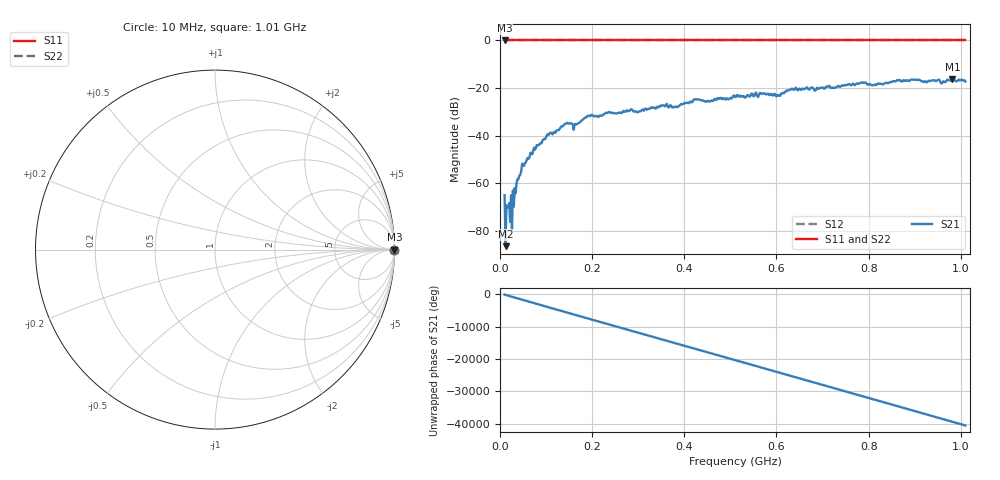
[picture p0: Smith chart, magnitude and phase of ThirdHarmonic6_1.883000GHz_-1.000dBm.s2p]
! 8/16/2025 10:44:58 PM
! C:\ANRITSUVNA\TEMP\TEMP.S2P
! CHANNEL.1
! TR.MEASUREMENT
! RAW.DATA
! RF.CORRECTION.OFF
! AVERAGING.OFF
! IF.BANDWIDTH: 5KHZ
! SWEEPTYPE:  FREQ.SWEEP(Linear)
! Reference Plane Port Info
! PORT:  PORT1  PORT2
! DISTANCE:  0  m  0  m
! TIME:  0  s  0  s
! PHASE.OFFSET:  0  deg.  0  deg.
! LOSS:  0  dB  0  dB
! REF.LOSS:  0  dB  0  dB
! REF.FREQ:  0  Hz  0  Hz
! Power Info
! POWER:  -20  dBm  -20  dBm
! EFF.POWER:  -20  dBm  -20  dBm
! SOURCE.ATTEN:  0  dB  0  dB
! TEST.ATTEN:  0  dB  0  dB
# GHZ S RI R 50.0
! FREQ.GHZ  S11RE  S11IM  S21RE  S21IM  S12RE  S12IM  S22RE  S22IM
!; PortSelection: Port_12
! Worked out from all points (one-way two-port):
!   501 points, 10 MHz to 1.01 GHz, reference 50 ohm
!   highest |S21| = -16.29 dB at 982 MHz (marker M1); lowest = -86.3 dB at 12 MHz (marker M2)
!   lowest |S11| = 0.0 dB at 10 MHz (marker M3)
!   |S11| at or under -10 dB: nowhere
!   |S22| runs from 0.0 to 0.0 dB; largest |S21 - S12| = 1.1
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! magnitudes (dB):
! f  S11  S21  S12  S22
! 10 MHz  0.0  -65.0  0.0  0.0
! 12 MHz  0.0  -86.3  0.0  0.0
! 16 MHz  0.0  -69.9  0.0  0.0
! 20 MHz  0.0  -68.2  0.0  0.0
! 22 MHz  0.0  -76.2  0.0  0.0
! 26 MHz  0.0  -79.8  0.0  0.0
! 36 MHz  0.0  -59.8  0.0  0.0
! 46 MHz  0.0  -55.0  0.0  0.0
! 78 MHz  0.0  -45.0  0.0  0.0
! 106 MHz  0.0  -39.6  0.0  0.0
! 142 MHz  0.0  -35.1  0.0  0.0
! 162 MHz  0.0  -35.1  0.0  0.0
! 178 MHz  0.0  -33.4  0.0  0.0
! 196 MHz  0.0  -31.7  0.0  0.0
! 344 MHz  0.0  -28.1  0.0  0.0
! 510 MHz  0.0  -23.7  0.0  0.0
! 604 MHz  0.0  -23.0  0.0  0.0
! 632 MHz  0.0  -20.5  0.0  0.0
! 678 MHz  0.0  -19.7  0.0  0.0
! 844 MHz  0.0  -17.7  0.0  0.0
! 982 MHz  0.0  -16.3  0.0  0.0
! 1.01 GHz  0.0  -17.2  0.0  0.0
